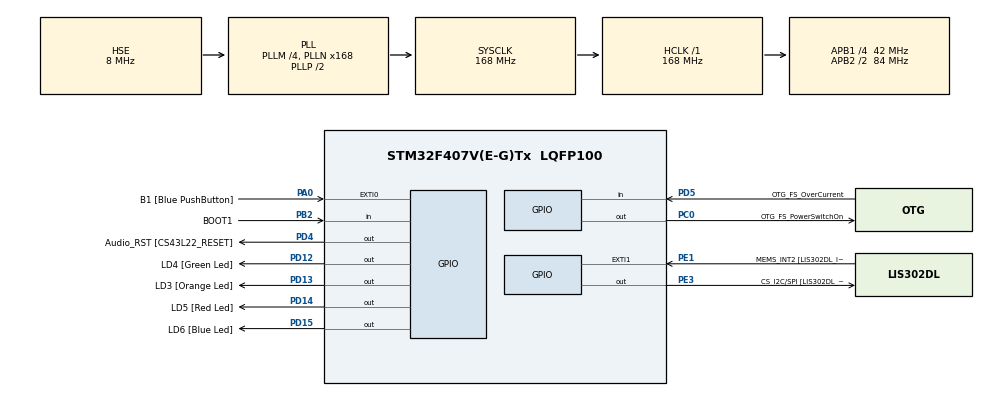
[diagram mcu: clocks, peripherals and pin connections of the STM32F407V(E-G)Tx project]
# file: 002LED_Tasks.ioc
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Mcu.Family=STM32F4
Mcu.Name=STM32F407V(E-G)Tx
Mcu.Package=LQFP100
NVIC.EXTI0_IRQn=true\:6\:0\:true\:false\:true\:true\:true\:true
NVIC.PriorityGroup=NVIC_PRIORITYGROUP_4
NVIC.TIM6_DAC_IRQn=true\:0\:0\:false\:false\:true\:false\:true\:true
NVIC.TimeBase=TIM6_DAC_IRQn
NVIC.TimeBaseIP=TIM6
PA0-WKUP.GPIO_Label=B1 [Blue PushButton]
PA0-WKUP.GPIO_ModeDefaultEXTI=GPIO_MODE_IT_FALLING
PA0-WKUP.Signal=GPXTI0
PA10.GPIO_Label=OTG_FS_ID
PA10.GPIO_Mode=GPIO_MODE_AF_PP
PA10.GPIO_PuPd=GPIO_NOPULL
PA10.GPIO_Speed=GPIO_SPEED_FREQ_LOW
PA10.Signal=USB_OTG_FS_ID
PA11.GPIO_Label=OTG_FS_DM
PA11.GPIO_Mode=GPIO_MODE_AF_PP
PA11.GPIO_PuPd=GPIO_NOPULL
PA11.GPIO_Speed=GPIO_SPEED_FREQ_LOW
PA11.Signal=USB_OTG_FS_DM
PA12.GPIO_Label=OTG_FS_DP
PA12.GPIO_Mode=GPIO_MODE_AF_PP
PA12.GPIO_PuPd=GPIO_NOPULL
PA12.GPIO_Speed=GPIO_SPEED_FREQ_LOW
PA12.Signal=USB_OTG_FS_DP
PA13.GPIO_Label=SWDIO
PA13.Signal=SYS_JTMS-SWDIO
PA14.GPIO_Label=SWCLK
PA14.Signal=SYS_JTCK-SWCLK
PA4.GPIO_Label=I2S3_WS [CS43L22_LRCK]
PA4.GPIO_Mode=GPIO_MODE_AF_PP
PA4.GPIO_PuPd=GPIO_NOPULL
PA4.GPIO_Speed=GPIO_SPEED_FREQ_LOW
PA4.Signal=I2S3_WS
PA5.GPIO_Label=SPI1_SCK [LIS302DL_SCL/SPC]
PA5.GPIO_Mode=GPIO_MODE_AF_PP
PA5.GPIO_PuPd=GPIO_NOPULL
PA5.GPIO_Speed=GPIO_SPEED_FREQ_LOW
PA5.Signal=SPI1_SCK
PA6.GPIO_Label=SPI1_MISO [LIS302DL_SDO]
PA6.GPIO_Mode=GPIO_MODE_AF_PP
PA6.GPIO_PuPd=GPIO_NOPULL
PA6.GPIO_Speed=GPIO_SPEED_FREQ_LOW
PA6.Signal=SPI1_MISO
PA7.GPIO_Label=SPI1_MOSI [LIS302DL_SDA/SDI/SDO]
PA7.GPIO_Mode=GPIO_MODE_AF_PP
PA7.GPIO_PuPd=GPIO_NOPULL
PA7.GPIO_Speed=GPIO_SPEED_FREQ_LOW
PA7.Signal=SPI1_MOSI
PA9.GPIO_Label=VBUS_FS
PA9.GPIO_Mode=GPIO_MODE_INPUT
PA9.GPIO_PuPd=GPIO_NOPULL
PA9.Signal=USB_OTG_FS_VBUS
PB10.GPIO_Label=CLK_IN [MP45DT02_CLK]
PB10.GPIO_Mode=GPIO_MODE_AF_PP
PB10.GPIO_PuPd=GPIO_NOPULL
PB10.GPIO_Speed=GPIO_SPEED_FREQ_LOW
PB10.Signal=I2S2_CK
PB2.GPIO_Label=BOOT1
PB2.GPIO_Mode=GPIO_MODE_INPUT
PB2.GPIO_PuPd=GPIO_NOPULL
PB2.Signal=GPIO_Input
PB3.GPIO_Label=SWO
PB3.Signal=SYS_JTDO-SWO
PB6.GPIO_Label=Audio_SCL [CS43L22_SCL]
PB6.GPIO_Mode=GPIO_MODE_AF_OD
PB6.GPIO_PuPd=GPIO_NOPULL
PB6.GPIO_Speed=GPIO_SPEED_FREQ_LOW
PB6.Signal=I2C1_SCL
PB9.GPIO_Label=Audio_SDA [CS43L22_SDA]
PB9.GPIO_Mode=GPIO_MODE_AF_OD
PB9.GPIO_PuPd=GPIO_NOPULL
PB9.GPIO_Speed=GPIO_SPEED_FREQ_LOW
PB9.Signal=I2C1_SDA
PC0.GPIO_Label=OTG_FS_PowerSwitchOn
PC0.GPIO_PuPd=GPIO_NOPULL
PC0.GPIO_Speed=GPIO_SPEED_FREQ_LOW
PC0.PinState=GPIO_PIN_SET
PC0.Signal=GPIO_Output
PC10.GPIO_Label=I2S3_SCK [CS43L22_SCLK]
PC10.GPIO_Mode=GPIO_MODE_AF_PP
PC10.GPIO_PuPd=GPIO_NOPULL
PC10.GPIO_Speed=GPIO_SPEED_FREQ_LOW
PC10.Signal=I2S3_CK
PC12.GPIO_Label=I2S3_SD [CS43L22_SDIN]
PC12.GPIO_Mode=GPIO_MODE_AF_PP
PC12.GPIO_PuPd=GPIO_NOPULL
PC12.GPIO_Speed=GPIO_SPEED_FREQ_LOW
PC12.Signal=I2S3_SD
PC14-OSC32_IN.GPIO_Label=PC14-OSC32_IN
PC14-OSC32_IN.Signal=RCC_OSC32_IN
PC15-OSC32_OUT.GPIO_Label=PC15-OSC32_OUT
PC15-OSC32_OUT.Signal=RCC_OSC32_OUT
PC3.GPIO_Label=PDM_OUT [MP45DT02_DOUT]
PC3.GPIO_Mode=GPIO_MODE_AF_PP
PC3.GPIO_PuPd=GPIO_NOPULL
PC3.GPIO_Speed=GPIO_SPEED_FREQ_LOW
PC3.Signal=I2S2_SD
PC7.GPIO_Label=I2S3_MCK [CS43L22_MCLK]
PC7.GPIO_Mode=GPIO_MODE_AF_PP
PC7.GPIO_PuPd=GPIO_NOPULL
PC7.GPIO_Speed=GPIO_SPEED_FREQ_LOW
PC7.Signal=I2S3_MCK
PD12.GPIO_Label=LD4 [Green Led]
PD12.GPIO_PuPd=GPIO_NOPULL
PD12.GPIO_Speed=GPIO_SPEED_FREQ_LOW
PD12.Signal=GPIO_Output
PD13.GPIO_Label=LD3 [Orange Led]
PD13.GPIO_PuPd=GPIO_NOPULL
PD13.GPIO_Speed=GPIO_SPEED_FREQ_LOW
PD13.Signal=GPIO_Output
PD14.GPIO_Label=LD5 [Red Led]
PD14.GPIO_PuPd=GPIO_NOPULL
PD14.GPIO_Speed=GPIO_SPEED_FREQ_LOW
PD14.Signal=GPIO_Output
PD15.GPIO_Label=LD6 [Blue Led]
PD15.GPIO_PuPd=GPIO_NOPULL
PD15.GPIO_Speed=GPIO_SPEED_FREQ_LOW
PD15.Signal=GPIO_Output
PD4.GPIO_Label=Audio_RST [CS43L22_RESET]
PD4.GPIO_PuPd=GPIO_NOPULL
PD4.GPIO_Speed=GPIO_SPEED_FREQ_LOW
PD4.Signal=GPIO_Output
PD5.GPIO_Label=OTG_FS_OverCurrent
PD5.GPIO_Mode=GPIO_MODE_INPUT
PD5.GPIO_PuPd=GPIO_NOPULL
PD5.Signal=GPIO_Input
PE1.GPIO_Label=MEMS_INT2 [LIS302DL_INT2]
PE1.GPIO_ModeDefaultEXTI=GPIO_MODE_EVT_RISING
PE1.GPIO_PuPd=GPIO_NOPULL
PE1.Signal=GPXTI1
PE3.GPIO_Label=CS_I2C/SPI [LIS302DL_CS_I2C/SPI]
PE3.GPIO_PuPd=GPIO_NOPULL
PE3.GPIO_Speed=GPIO_SPEED_FREQ_LOW
PE3.Signal=GPIO_Output
PH0-OSC_IN.GPIO_Label=PH0-OSC_IN
PH0-OSC_IN.Mode=HSE-External-Clock-Source
PH0-OSC_IN.Signal=RCC_OSC_IN
PH1-OSC_OUT.GPIO_Label=PH1-OSC_OUT
PH1-OSC_OUT.Mode=HSE-External-Clock-Source
PH1-OSC_OUT.Signal=RCC_OSC_OUT
ProjectManager.HeapSize=0x200
ProjectManager.StackSize=0x400
ProjectManager.TargetToolchain=STM32CubeIDE
RCC.48MHZClocksFreq_Value=48000000
RCC.AHBFreq_Value=168000000
RCC.APB1CLKDivider=RCC_HCLK_DIV4
RCC.APB1Freq_Value=42000000
RCC.APB1TimFreq_Value=84000000
RCC.APB2CLKDivider=RCC_HCLK_DIV2
RCC.APB2Freq_Value=84000000
RCC.APB2TimFreq_Value=168000000
RCC.CortexFreq_Value=168000000
RCC.HCLKFreq_Value=168000000
RCC.HSE_VALUE=8000000
RCC.HSI_VALUE=16000000
RCC.LSE_VALUE=32768
RCC.PLLM=4
RCC.PLLN=168
RCC.PLLQ=7
RCC.PLLSourceVirtual=RCC_PLLSOURCE_HSE
RCC.SYSCLKFreq_VALUE=168000000
RCC.SYSCLKSource=RCC_SYSCLKSOURCE_PLLCLK
RCC.VCOOutputFreq_Value=336000000
VP_SYS_VS_tim6.Mode=TIM6
board=STM32F407G-DISC1

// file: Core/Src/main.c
/* USER CODE BEGIN Header */
/**
  ******************************************************************************
  * @file           : main.c
  * @brief          : Main program body
  ******************************************************************************
  * @attention
  *
  * Copyright (c) 2023 STMicroelectronics.
  * All rights reserved.
  *
  * This software is licensed under terms that can be found in the LICENSE file
  * in the root directory of this software component.
  * If no LICENSE file comes with this software, it is provided AS-IS.
  *
  ******************************************************************************
  */
/* USER CODE END Header */
#include "main.h"

/* USER CODE BEGIN Includes */

#include "FreeRTOS.h"
#include "task.h"

/* USER CODE END Includes */

/* USER CODE BEGIN PV */

#define DWT_CTRL ( * ( volatile uint32_t * ) 0xE0001000 )

/* USER CODE END PV */

void SystemClock_Config(void);
static void MX_GPIO_Init(void);
/* USER CODE BEGIN PFP */

static void led_GreenHandler( void *params );
static void led_OrangeHandler( void *params );
static void led_RedHandler( void *params );

extern void SEGGER_UART_init( uint32_t );

/* USER CODE END PFP */

int main(void)
{
  /* USER CODE BEGIN 1 */

  TaskHandle_t TASK_tsk1Hdl;
  TaskHandle_t TASK_tsk2Hdl;
  TaskHandle_t TASK_tsk3Hdl;
  BaseType_t status;

  /* USER CODE END 1 */

  /* MCU Configuration--------------------------------------------------------*/

  /* Reset of all peripherals, Initializes the Flash interface and the Systick. */
  HAL_Init();

  /* Configure the system clock */
  SystemClock_Config();

  /* Initialize all configured peripherals */
  MX_GPIO_Init();
  /* USER CODE BEGIN 2 */

  /*Enable SEGGER UART*/
  SEGGER_UART_init( 500000 );

  /* CYCLNT Enable */
  DWT_CTRL |= ( 1 << 0 );

  /*Configure SEGGER SYSVIEW*/
  SEGGER_SYSVIEW_Conf( );

  /*Create Tasks*/
  status = xTaskCreate( led_GreenHandler, "LED Green Task", 200, NULL, 2, &TASK_tsk1Hdl );
  configASSERT( status );
  status = xTaskCreate( led_RedHandler, "LED Red Task", 200, NULL, 2, &TASK_tsk2Hdl );
  configASSERT( status );
  status = xTaskCreate( led_OrangeHandler, "LED Orange Handler", 200, NULL, 2, &TASK_tsk3Hdl );
  configASSERT( status );

  /*Start Scheduler*/
  vTaskStartScheduler( );

  /* USER CODE END 2 */

  /* Infinite loop */
  while (1)
  {

  }
}

void SystemClock_Config(void)
{
  RCC_OscInitTypeDef RCC_OscInitStruct = {0};
  RCC_ClkInitTypeDef RCC_ClkInitStruct = {0};

  /** Configure the main internal regulator output voltage
  */
  __HAL_RCC_PWR_CLK_ENABLE();
  __HAL_PWR_VOLTAGESCALING_CONFIG(PWR_REGULATOR_VOLTAGE_SCALE1);

  /** Initializes the RCC Oscillators according to the specified parameters
  * in the RCC_OscInitTypeDef structure.
  */
  RCC_OscInitStruct.OscillatorType = RCC_OSCILLATORTYPE_HSE;
  RCC_OscInitStruct.HSEState = RCC_HSE_BYPASS;
  RCC_OscInitStruct.PLL.PLLState = RCC_PLL_ON;
  RCC_OscInitStruct.PLL.PLLSource = RCC_PLLSOURCE_HSE;
  RCC_OscInitStruct.PLL.PLLM = 4;
  RCC_OscInitStruct.PLL.PLLN = 168;
  RCC_OscInitStruct.PLL.PLLP = RCC_PLLP_DIV2;
  RCC_OscInitStruct.PLL.PLLQ = 7;
  if (HAL_RCC_OscConfig(&RCC_OscInitStruct) != HAL_OK)
  {
    Error_Handler();
  }

  /** Initializes the CPU, AHB and APB buses clocks
  */
  RCC_ClkInitStruct.ClockType = RCC_CLOCKTYPE_HCLK|RCC_CLOCKTYPE_SYSCLK
                              |RCC_CLOCKTYPE_PCLK1|RCC_CLOCKTYPE_PCLK2;
  RCC_ClkInitStruct.SYSCLKSource = RCC_SYSCLKSOURCE_PLLCLK;
  RCC_ClkInitStruct.AHBCLKDivider = RCC_SYSCLK_DIV1;
  RCC_ClkInitStruct.APB1CLKDivider = RCC_HCLK_DIV4;
  RCC_ClkInitStruct.APB2CLKDivider = RCC_HCLK_DIV2;

  if (HAL_RCC_ClockConfig(&RCC_ClkInitStruct, FLASH_LATENCY_5) != HAL_OK)
  {
    Error_Handler();
  }
}

static void MX_GPIO_Init(void)
{
  GPIO_InitTypeDef GPIO_InitStruct = {0};

  /* GPIO Ports Clock Enable */
  __HAL_RCC_GPIOE_CLK_ENABLE();
  __HAL_RCC_GPIOC_CLK_ENABLE();
  __HAL_RCC_GPIOH_CLK_ENABLE();
  __HAL_RCC_GPIOA_CLK_ENABLE();
  __HAL_RCC_GPIOB_CLK_ENABLE();
  __HAL_RCC_GPIOD_CLK_ENABLE();

  /*Configure GPIO pin Output Level */
  HAL_GPIO_WritePin(CS_I2C_SPI_GPIO_Port, CS_I2C_SPI_Pin, GPIO_PIN_RESET);

  /*Configure GPIO pin Output Level */
  HAL_GPIO_WritePin(OTG_FS_PowerSwitchOn_GPIO_Port, OTG_FS_PowerSwitchOn_Pin, GPIO_PIN_SET);

  /*Configure GPIO pin Output Level */
  HAL_GPIO_WritePin(GPIOD, LD4_Pin|LD3_Pin|LD5_Pin|LD6_Pin
                          |Audio_RST_Pin, GPIO_PIN_RESET);

  /*Configure GPIO pin : CS_I2C_SPI_Pin */
  GPIO_InitStruct.Pin = CS_I2C_SPI_Pin;
  GPIO_InitStruct.Mode = GPIO_MODE_OUTPUT_PP;
  GPIO_InitStruct.Pull = GPIO_NOPULL;
  GPIO_InitStruct.Speed = GPIO_SPEED_FREQ_LOW;
  HAL_GPIO_Init(CS_I2C_SPI_GPIO_Port, &GPIO_InitStruct);

  /*Configure GPIO pin : OTG_FS_PowerSwitchOn_Pin */
  GPIO_InitStruct.Pin = OTG_FS_PowerSwitchOn_Pin;
  GPIO_InitStruct.Mode = GPIO_MODE_OUTPUT_PP;
  GPIO_InitStruct.Pull = GPIO_NOPULL;
  GPIO_InitStruct.Speed = GPIO_SPEED_FREQ_LOW;
  HAL_GPIO_Init(OTG_FS_PowerSwitchOn_GPIO_Port, &GPIO_InitStruct);

  /*Configure GPIO pin : PDM_OUT_Pin */
  GPIO_InitStruct.Pin = PDM_OUT_Pin;
  GPIO_InitStruct.Mode = GPIO_MODE_AF_PP;
  GPIO_InitStruct.Pull = GPIO_NOPULL;
  GPIO_InitStruct.Speed = GPIO_SPEED_FREQ_LOW;
  GPIO_InitStruct.Alternate = GPIO_AF5_SPI2;
  HAL_GPIO_Init(PDM_OUT_GPIO_Port, &GPIO_InitStruct);

  /*Configure GPIO pin : B1_Pin */
  GPIO_InitStruct.Pin = B1_Pin;
  GPIO_InitStruct.Mode = GPIO_MODE_IT_FALLING;
  GPIO_InitStruct.Pull = GPIO_NOPULL;
  HAL_GPIO_Init(B1_GPIO_Port, &GPIO_InitStruct);

  /*Configure GPIO pin : I2S3_WS_Pin */
  GPIO_InitStruct.Pin = I2S3_WS_Pin;
  GPIO_InitStruct.Mode = GPIO_MODE_AF_PP;
  GPIO_InitStruct.Pull = GPIO_NOPULL;
  GPIO_InitStruct.Speed = GPIO_SPEED_FREQ_LOW;
  GPIO_InitStruct.Alternate = GPIO_AF6_SPI3;
  HAL_GPIO_Init(I2S3_WS_GPIO_Port, &GPIO_InitStruct);

  /*Configure GPIO pins : SPI1_SCK_Pin SPI1_MISO_Pin SPI1_MOSI_Pin */
  GPIO_InitStruct.Pin = SPI1_SCK_Pin|SPI1_MISO_Pin|SPI1_MOSI_Pin;
  GPIO_InitStruct.Mode = GPIO_MODE_AF_PP;
  GPIO_InitStruct.Pull = GPIO_NOPULL;
  GPIO_InitStruct.Speed = GPIO_SPEED_FREQ_LOW;
  GPIO_InitStruct.Alternate = GPIO_AF5_SPI1;
  HAL_GPIO_Init(GPIOA, &GPIO_InitStruct);

  /*Configure GPIO pin : BOOT1_Pin */
  GPIO_InitStruct.Pin = BOOT1_Pin;
  GPIO_InitStruct.Mode = GPIO_MODE_INPUT;
  GPIO_InitStruct.Pull = GPIO_NOPULL;
  HAL_GPIO_Init(BOOT1_GPIO_Port, &GPIO_InitStruct);

  /*Configure GPIO pin : CLK_IN_Pin */
  GPIO_InitStruct.Pin = CLK_IN_Pin;
  GPIO_InitStruct.Mode = GPIO_MODE_AF_PP;
  GPIO_InitStruct.Pull = GPIO_NOPULL;
  GPIO_InitStruct.Speed = GPIO_SPEED_FREQ_LOW;
  GPIO_InitStruct.Alternate = GPIO_AF5_SPI2;
  HAL_GPIO_Init(CLK_IN_GPIO_Port, &GPIO_InitStruct);

  /*Configure GPIO pins : LD4_Pin LD3_Pin LD5_Pin LD6_Pin
                           Audio_RST_Pin */
  GPIO_InitStruct.Pin = LD4_Pin|LD3_Pin|LD5_Pin|LD6_Pin
                          |Audio_RST_Pin;
  GPIO_InitStruct.Mode = GPIO_MODE_OUTPUT_PP;
  GPIO_InitStruct.Pull = GPIO_NOPULL;
  GPIO_InitStruct.Speed = GPIO_SPEED_FREQ_LOW;
  HAL_GPIO_Init(GPIOD, &GPIO_InitStruct);

  /*Configure GPIO pins : I2S3_MCK_Pin I2S3_SCK_Pin I2S3_SD_Pin */
  GPIO_InitStruct.Pin = I2S3_MCK_Pin|I2S3_SCK_Pin|I2S3_SD_Pin;
  GPIO_InitStruct.Mode = GPIO_MODE_AF_PP;
  GPIO_InitStruct.Pull = GPIO_NOPULL;
  GPIO_InitStruct.Speed = GPIO_SPEED_FREQ_LOW;
  GPIO_InitStruct.Alternate = GPIO_AF6_SPI3;
  HAL_GPIO_Init(GPIOC, &GPIO_InitStruct);

  /*Configure GPIO pin : VBUS_FS_Pin */
  GPIO_InitStruct.Pin = VBUS_FS_Pin;
  GPIO_InitStruct.Mode = GPIO_MODE_INPUT;
  GPIO_InitStruct.Pull = GPIO_NOPULL;
  HAL_GPIO_Init(VBUS_FS_GPIO_Port, &GPIO_InitStruct);

  /*Configure GPIO pins : OTG_FS_ID_Pin OTG_FS_DM_Pin OTG_FS_DP_Pin */
  GPIO_InitStruct.Pin = OTG_FS_ID_Pin|OTG_FS_DM_Pin|OTG_FS_DP_Pin;
  GPIO_InitStruct.Mode = GPIO_MODE_AF_PP;
  GPIO_InitStruct.Pull = GPIO_NOPULL;
  GPIO_InitStruct.Speed = GPIO_SPEED_FREQ_LOW;
  GPIO_InitStruct.Alternate = GPIO_AF10_OTG_FS;
  HAL_GPIO_Init(GPIOA, &GPIO_InitStruct);

  /*Configure GPIO pin : OTG_FS_OverCurrent_Pin */
  GPIO_InitStruct.Pin = OTG_FS_OverCurrent_Pin;
  GPIO_InitStruct.Mode = GPIO_MODE_INPUT;
  GPIO_InitStruct.Pull = GPIO_NOPULL;
  HAL_GPIO_Init(OTG_FS_OverCurrent_GPIO_Port, &GPIO_InitStruct);

  /*Configure GPIO pins : Audio_SCL_Pin Audio_SDA_Pin */
  GPIO_InitStruct.Pin = Audio_SCL_Pin|Audio_SDA_Pin;
  GPIO_InitStruct.Mode = GPIO_MODE_AF_OD;
  GPIO_InitStruct.Pull = GPIO_NOPULL;
  GPIO_InitStruct.Speed = GPIO_SPEED_FREQ_LOW;
  GPIO_InitStruct.Alternate = GPIO_AF4_I2C1;
  HAL_GPIO_Init(GPIOB, &GPIO_InitStruct);

  /*Configure GPIO pin : MEMS_INT2_Pin */
  GPIO_InitStruct.Pin = MEMS_INT2_Pin;
  GPIO_InitStruct.Mode = GPIO_MODE_EVT_RISING;
  GPIO_InitStruct.Pull = GPIO_NOPULL;
  HAL_GPIO_Init(MEMS_INT2_GPIO_Port, &GPIO_InitStruct);

  /* EXTI interrupt init*/
  HAL_NVIC_SetPriority(EXTI0_IRQn, 6, 0);
  HAL_NVIC_EnableIRQ(EXTI0_IRQn);

}

/* USER CODE BEGIN 4 */

static void led_GreenHandler( void *params )
{
  while( 1 )
  {
    SEGGER_SYSVIEW_PrintfTarget( "Toggling Green LED");
    HAL_GPIO_TogglePin( GPIOD, LED_GREEN_PIN );
    HAL_Delay( 1000 );

  }
}

static void led_OrangeHandler( void *params )
{
  while( 1 )
  {
    SEGGER_SYSVIEW_PrintfTarget( "Toggling Orange LED" );
    HAL_GPIO_TogglePin( GPIOD, LED_ORANGE_PIN );
    HAL_Delay( 800 );
  }
}

static void led_RedHandler( void *params )
{
  while( 1 )
  {
    SEGGER_SYSVIEW_PrintfTarget( "Toggling Red LED" );
    HAL_GPIO_TogglePin( GPIOD, LED_RED_PIN );
    HAL_Delay( 400 );
  }
}

/* USER CODE END 4 */

void HAL_TIM_PeriodElapsedCallback(TIM_HandleTypeDef *htim)
{
  if (htim->Instance == TIM6) {
    HAL_IncTick();
  }
}

void Error_Handler(void)
{
  __disable_irq();
  while (1)
  {
  }
}
